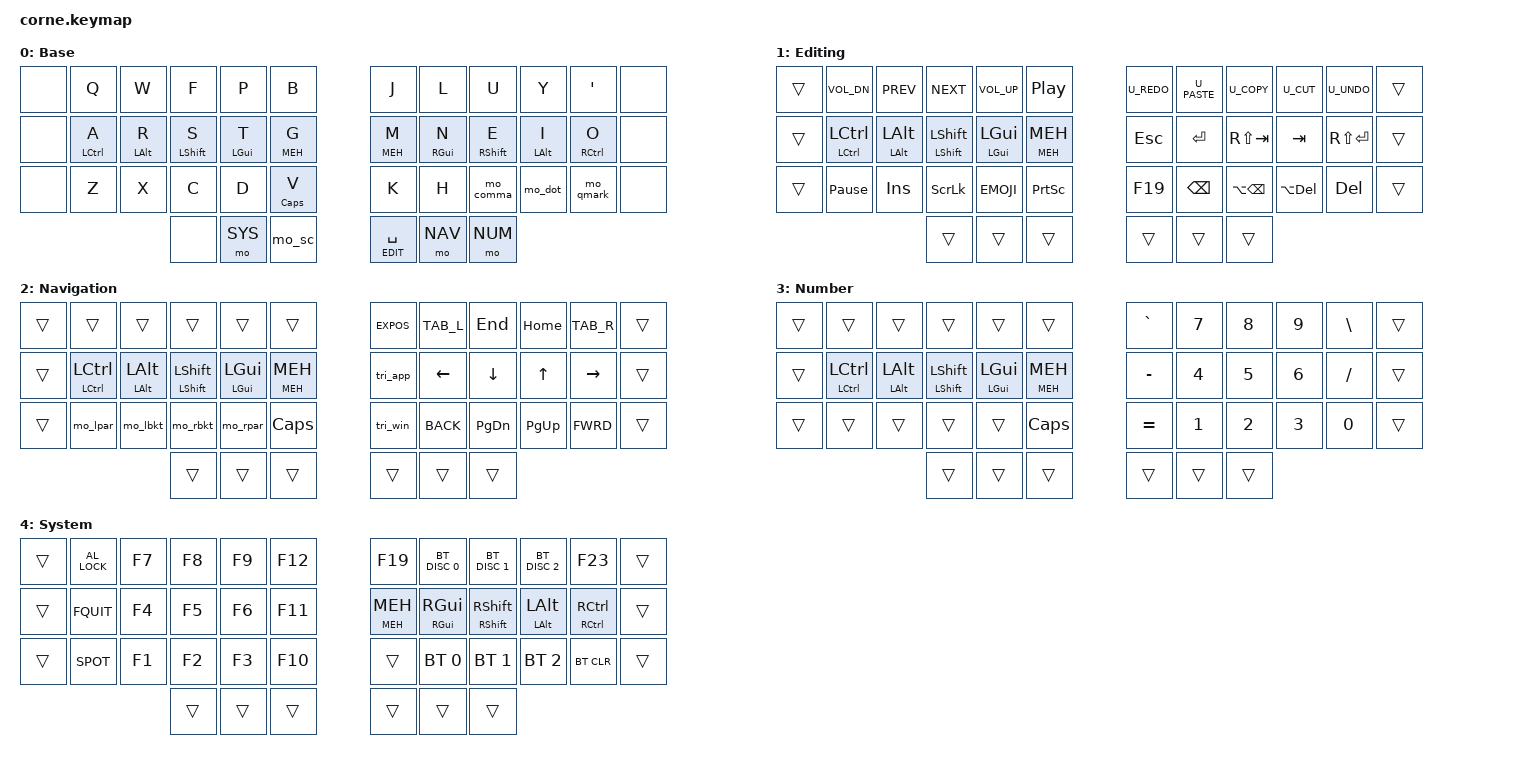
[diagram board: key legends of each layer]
#include <behaviors.dtsi>
#include <dt-bindings/zmk/keys.h>
#include <dt-bindings/zmk/bt.h>

// Left/Right Side Keys
#define KEYS_L 0 1 2 3 4 5 12 13 14 15 16 17 24 25 26 27 28 29    // Left-hand keys.
#define KEYS_R 6 7 8 9 10 11 18 19 20 21 22 23 30 31 32 33 34 35  // Right-hand keys.
#define THUMBS_L 36 37 38
#define THUMBS_R 39 40 41

#include "./shared/layer-list.h"
#include "./shared/shorthands.h"
#include "./shared/tuning.h"

#include "./shared/custom-behaviors.dtsi"
#include "./shared/custom-combos.dtsi"
//#include "./shared/custom-layers.dtsi"
#include "./shared/custom-overrides.dtsi"

/ {
    keymap {
        compatible = "zmk,keymap";

        default_layer {
            display-name = "Base";
            bindings = <
//╭─────────────┬─────────────┬─────────────┬─────────────┬───────────┬─────────────╮ ╭─────────────┬─────────────┬─────────────┬─────────────┬───────────┬────────────╮
       &none        &kp Q         &kp W        &kp F         &kp P        &kp B           &kp J         &kp L         &kp U         &kp Y        &kp APOS     &none
//├─────────────┼─────────────┼─────────────┼─────────────┼───────────┼─────────────┤ ├─────────────┼─────────────┼─────────────┼─────────────┼───────────┼────────────┤
       &none     &hml LCTRL A  &hml LALT  R   &hml LSHFT S &hml LGUI T  &hml MEH G      &hmr MEH M    &hmr RGUI N   &hmr RSHFT E  &hmr LALT I  &hmr RCTRL O   &none
//├─────────────┼─────────────┼─────────────┼─────────────┼───────────┼─────────────┤ ├─────────────┼─────────────┼─────────────┼─────────────┼───────────┼────────────┤
       &none         &kp Z         &kp X        &kp C         &kp D     &hml CAPS V        &kp K         &kp H       &mo_comma      &mo_dot     &mo_qmark     &none
//╰─────────────┼─────────────┼─────────────┼─────────────┼───────────┼─────────────┤ ├─────────────┼─────────────┼─────────────┼─────────────┴───────────┴────────────╯
                                                &none        &mo SYS      &mo_sc       &lt EDIT SPACE   &mo NAV       &mo NUM
//                                          ╰─────────────┴───────────┴─────────────╯ ╰─────────────┴─────────────┴─────────────╯
            >;
        };

        edit_layer {
            display-name = "Editing";
            bindings = <
//╭─────────────┬─────────────┬─────────────┬─────────────┬───────────┬─────────────╮ ╭─────────────┬─────────────┬─────────────┬─────────────┬───────────┬────────────╮
      &trans     &kp C_VOL_DN   &kp C_PREV     &kp C_NEXT  &kp C_VOL_UP  &kp C_PP      &kp U_REDO    &kp U_PASTE   &kp U_COPY     &kp U_CUT   &kp U_UNDO     &trans
//├─────────────┼─────────────┼─────────────┼─────────────┼───────────┼─────────────┤ ├─────────────┼─────────────┼─────────────┼─────────────┼───────────┼────────────┤
      &trans  &hm LCTRL LCTRL &hm LALT LALT &hm LSHFT LSHFT &hm LGUI LGUI &hm MEH MEH     &kp ESC       &kp RET     &kp RS(TAB)     &kp TAB    &kp RS(RET)    &trans
//├─────────────┼─────────────┼─────────────┼─────────────┼───────────┼─────────────┤ ├─────────────┼─────────────┼─────────────┼─────────────┼───────────┼────────────┤
      &trans    &kp PAUSE_BREAK   &kp INS      &kp SLCK     &kp EMOJI    &kp PSCRN        &kp F19       &kp BSPC    &kp LA(BSPC)  &kp LA(DEL)    &kp DEL      &trans
//╰─────────────┼─────────────┼─────────────┼─────────────┼───────────┼─────────────┤ ├─────────────┼─────────────┼─────────────┼─────────────┴───────────┴────────────╯
                                                &trans       &trans       &trans          &trans        &trans        &trans
//                                          ╰─────────────┴───────────┴─────────────╯ ╰─────────────┴─────────────┴─────────────╯
            >;
        };

        nav_layer {
            display-name = "Navigation";
            bindings = <
//╭─────────────┬─────────────┬─────────────┬─────────────┬───────────┬─────────────╮ ╭─────────────┬─────────────┬─────────────┬─────────────┬───────────┬────────────╮
      &trans        &trans         &trans       &trans        &trans      &trans         &kp EXPOS     &kp TAB_L      &kp END      &kp HOME     &kp TAB_R     &trans
//├─────────────┼─────────────┼─────────────┼─────────────┼───────────┼─────────────┤ ├─────────────┼─────────────┼─────────────┼─────────────┼───────────┼────────────┤
      &trans    &hm LCTRL LCTRL &hm LALT LALT &hm LSHFT LSHFT &hm LGUI LGUI &hm MEH MEH   &tri_app      &kp LEFT      &kp DOWN       &kp UP      &kp RIGHT     &trans
//├─────────────┼─────────────┼─────────────┼─────────────┼───────────┼─────────────┤ ├─────────────┼─────────────┼─────────────┼─────────────┼───────────┼────────────┤
      &trans       &mo_lpar      &mo_lbkt      &mo_rbkt      &mo_rpar     &kp CAPS        &tri_win      &kp BACK      &kp PG_DN     &kp PG_UP    &kp FWRD      &trans
//╰─────────────┼─────────────┼─────────────┼─────────────┼───────────┼─────────────┤ ├─────────────┼─────────────┼─────────────┼─────────────┴───────────┴────────────╯
                                                 &trans      &trans       &trans          &trans        &trans        &trans
//                                          ╰─────────────┴───────────┴─────────────╯ ╰─────────────┴─────────────┴─────────────╯
            >;
        };

        num_layer {
            display-name = "Number";
            bindings = <
//╭─────────────┬─────────────┬─────────────┬─────────────┬───────────┬─────────────╮ ╭─────────────┬─────────────┬─────────────┬─────────────┬───────────┬────────────╮
      &trans        &trans         &trans       &trans        &trans      &trans         &kp GRAVE      &kp N7        &kp N8        &kp N9      &kp BSLH      &trans
//├─────────────┼─────────────┼─────────────┼─────────────┼───────────┼─────────────┤ ├─────────────┼─────────────┼─────────────┼─────────────┼───────────┼────────────┤
      &trans    &hm LCTRL LCTRL &hm LALT LALT &hm LSHFT LSHFT &hm LGUI LGUI &hm MEH MEH  &kp MINUS      &kp N4        &kp N5        &kp N6      &kp SLASH     &trans
//├─────────────┼─────────────┼─────────────┼─────────────┼───────────┼─────────────┤ ├─────────────┼─────────────┼─────────────┼─────────────┼───────────┼────────────┤
      &trans        &trans        &trans        &trans       &trans      &kp CAPS        &kp EQUAL      &kp N1        &kp N2        &kp N3       &kp N0       &trans
//╰─────────────┼─────────────┼─────────────┼─────────────┼───────────┼─────────────┤ ├─────────────┼─────────────┼─────────────┼─────────────┴───────────┴────────────╯
                                                &trans       &trans       &trans           &trans       &trans        &trans
//                                          ╰─────────────┴───────────┴─────────────╯ ╰─────────────┴─────────────┴─────────────╯
            >;
        };

        sys_layer {
            display-name = "System";
            bindings = <
//╭─────────────┬─────────────┬─────────────┬─────────────┬───────────┬─────────────╮ ╭─────────────┬─────────────┬─────────────┬─────────────┬───────────┬────────────╮
      &trans     &kp C_AL_LOCK    &kp F7        &kp F8        &kp F9      &kp F12         &kp F19    &bt BT_DISC 0 &bt BT_DISC 1 &bt BT_DISC 2   &kp F23      &trans
//├─────────────┼─────────────┼─────────────┼─────────────┼───────────┼─────────────┤ ├─────────────┼─────────────┼─────────────┼─────────────┼───────────┼────────────┤
      &trans       &kp FQUIT      &kp F4        &kp F5        &kp F6      &kp F11       &hm MEH MEH &hm RGUI RGUI &hm RSHFT RSHFT &hm LALT LALT &hm RCTRL RCTRL &trans
//├─────────────┼─────────────┼─────────────┼─────────────┼───────────┼─────────────┤ ├─────────────┼─────────────┼─────────────┼─────────────┼───────────┼────────────┤
      &trans       &kp SPOT       &kp F1        &kp F2        &kp F3      &kp F10         &trans     &bt BT_SEL 0  &bt BT_SEL 1  &bt BT_SEL 2  &bt BT_CLR     &trans
//╰─────────────┼─────────────┼─────────────┼─────────────┼───────────┼─────────────┤ ├─────────────┼─────────────┼─────────────┼─────────────┴───────────┴────────────╯
                                                 &trans       &trans      &trans          &trans        &trans        &trans
//                                          ╰─────────────┴───────────┴─────────────╯ ╰─────────────┴─────────────┴─────────────╯
            >;
        };
    };
};
